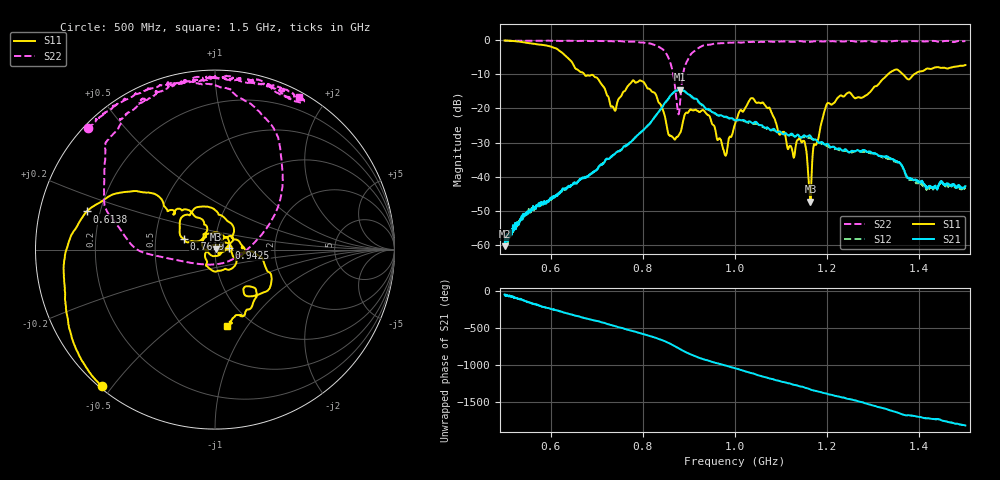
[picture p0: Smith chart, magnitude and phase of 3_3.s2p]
!Agilent Technologies,E8364B,US42250235,A.06.04.32
!Agilent E8364B: A.06.04.32
!Date: Friday, January 15, 2021 16:13:32
!Correction: S11(Full 2 Port(1,2)) S21(Full 2 Port(1,2)) S12(Full 2 Port(1,2)) S22(Full 2 Port(1,2))
!S2P File: Measurements: S11, S21, S12, S22:
# Hz S  dB  R 50
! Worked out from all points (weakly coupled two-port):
!   1601 points, 500 MHz to 1.5 GHz, reference 50 ohm
!   highest |S21| = -14.45 dB at 880.6 MHz (marker M1); lowest = -60.3 dB at 500 MHz (marker M2)
!   lowest |S11| = -47.2 dB at 1.164 GHz (marker M3), VSWR 1.01, Z = 50.4 + j0.206 ohm
!   |S11| at or under -10 dB: 673 MHz to 1.332 GHz (658.8 MHz wide, 65.7 % of centre); 1.364 GHz to 1.388 GHz (23.99 MHz wide, 1.74 % of centre)
!   |S22| runs from -21.7 to -0.1 dB; largest |S21 - S12| = 0.0091
!   S11 on the Smith chart (normalised r, x): 500 MHz: 0.01, -0.47; 613.8 MHz: 0.15, +0.14; 761.9 MHz: 0.70, +0.09; 942.5 MHz: 1.17, +0.03; 1.5 GHz: 0.77, -0.81
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5e8  -0.10 -129.5  -60.28 -47.9  -58.85 -57.2  -0.17 136.2
6.1375e8  -2.55 163.4  -45.28 95.3  -45.08 96.3  -0.19 123.9
6.66875e8  -9.37 140.9  -40.50 3.5  -40.53 3.6  -0.23 116.5
7.3625e8  -19.74 128.2  -33.55 -110.4  -33.65 -111.3  -0.36 107.4
7.61875e8  -14.74 160.6  -30.87 -156.3  -31.15 -156.7  -0.42 102.8
7.975e8  -11.97 108.4  -26.68 141.8  -26.78 140.3  -0.69 92.4
8.3375e8  -18.08 38.0  -21.05 71.5  -21.12 69.7  -1.88 72.0
8.6e8  -28.02 -31.9  -16.21 3.0  -16.44 1.5  -6.75 37.6
8.80625e8  -27.19 -171.8  -14.45 -67.1  -14.60 -68.9  -18.54 -137.3
8.98125e8  -21.21 125.0  -15.80 -123.2  -15.82 -125.2  -5.58 169.3
9.425e8  -22.01 7.8  -20.10 134.8  -20.41 133.5  -1.35 133.6
9.78125e8  -33.58 -12.2  -22.44 71.6  -22.44 68.6  -0.89 120.4
1e9  -24.53 41.0  -23.51 31.6  -23.50 29.7  -0.64 115.3
1.0625e9  -18.59 -97.4  -25.46 -84.8  -25.50 -85.2  -0.51 104.9
1.125e9  -32.70 80.5  -27.54 171.7  -27.86 171.5  -0.49 98.4
1.149375e9  -29.54 24.9  -27.89 134.6  -28.39 130.4  -0.44 97.3
1.16375e9  -47.23 28.1  -28.02 103.5  -28.71 103.2  -0.48 93.0
1.166875e9  -37.31 90.8  -28.68 96.9  -28.94 97.4  -0.44 91.6
1.2e9  -18.52 40.3  -30.40 45.6  -31.02 42.1  -0.36 90.2
1.33375e9  -9.77 -22.7  -34.27 -173.5  -34.64 -173.2  -0.42 77.0
1.41625e9  -8.36 -58.2  -43.15 74.2  -43.57 72.2  -0.38 67.2
1.5e9  -7.30 -81.2  -42.76 -23.7  -43.58 -29.9  -0.25 61.1
